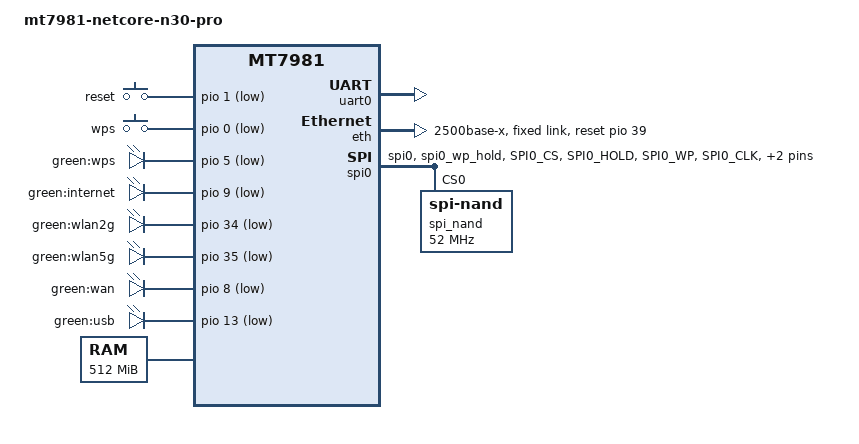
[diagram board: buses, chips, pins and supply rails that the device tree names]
// SPDX-License-Identifier: GPL-2.0

/dts-v1/;
#include "mt7981.dtsi"
#include <dt-bindings/gpio/gpio.h>

/ {
	#address-cells = <1>;
	#size-cells = <1>;
	model = "mt7981-netcore-n30-pro";
	compatible = "mediatek,mt7981", "mediatek,mt7981-rfb";

	chosen {
		stdout-path = &uart0;
		tick-timer = &timer0;
	};

	config {
		bootcmd = "mtkboardboot";
		blink_led = "green:internet";
		system_led = "green:wps";
	};

	mtd-layout {
		layout@0 {
			label = "default";
			mtdids = "nmbm0=nmbm0";
			mtdparts = "nmbm0:1024k(bl2),512k(u-boot-env),2048k(Factory),2048k(fip),117248k(ubi)";
		};
	};

	gpio-keys {
		compatible = "gpio-keys";

		button-reset {
			label = "reset";
			linux,code = <KEY_RESTART>;
			gpios = <&pio 1 GPIO_ACTIVE_LOW>;
		};

		button-wps {
			label = "wps";
			linux,code = <KEY_WPS_BUTTON>;
			gpios = <&pio 0 GPIO_ACTIVE_LOW>;
		};
	};

	leds {
		compatible = "gpio-leds";

		led-0 {
			label = "green:wps";
			gpios = <&pio 5 GPIO_ACTIVE_LOW>;
			default-state = "on";
			linux,default-trigger = "default-on";
		};

		led-1 {
			label = "green:internet";
			gpios = <&pio 9 GPIO_ACTIVE_LOW>;
		};

		led-2 {
			label = "green:wlan2g";
			gpios = <&pio 34 GPIO_ACTIVE_LOW>;
		};

		led-3 {
			label = "green:wlan5g";
			gpios = <&pio 35 GPIO_ACTIVE_LOW>;
		};

		led-4 {
			label = "green:wan";
			gpios = <&pio 8 GPIO_ACTIVE_LOW>;
		};

		led-5 {
			label = "green:usb";
			gpios = <&pio 13 GPIO_ACTIVE_LOW>;
		};
	};

	memory@40000000 {
		device_type = "memory";
		reg = <0x40000000 0x20000000>;
	};

	bl2_verify {
		bl2_compatible = "spim-nand";
	};
};

&uart0 {
	status = "okay";
};

&eth {
	status = "okay";
	mediatek,gmac-id = <0>;
	phy-mode = "2500base-x";
	mediatek,switch = "auto";
	reset-gpios = <&pio 39 GPIO_ACTIVE_HIGH>;

	fixed-link {
		speed = <2500>;
		full-duplex;
	};
};

&pio {
	spi_flash_pins: spi0-pins-func-1 {
		mux {
			function = "flash";
			groups = "spi0", "spi0_wp_hold";
		};

		conf-pu {
			pins = "SPI0_CS", "SPI0_HOLD", "SPI0_WP";
			drive-strength = <MTK_DRIVE_8mA>;
			bias-pull-up = <MTK_PUPD_SET_R1R0_11>;
		};

		conf-pd {
			pins = "SPI0_CLK", "SPI0_MOSI", "SPI0_MISO";
			drive-strength = <MTK_DRIVE_8mA>;
			bias-pull-down = <MTK_PUPD_SET_R1R0_11>;
		};
	};
};

&spi0 {
	#address-cells = <1>;
	#size-cells = <0>;
	pinctrl-names = "default";
	pinctrl-0 = <&spi_flash_pins>;
	status = "okay";
	must_tx;
	enhance_timing;
	dma_ext;
	ipm_design;
	support_quad;
	tick_dly = <2>;
	sample_sel = <0>;

	spi_nand@0 {
		compatible = "spi-nand";
		reg = <0>;
		spi-max-frequency = <52000000>;
	};
};

&watchdog {
	status = "disabled";
};
